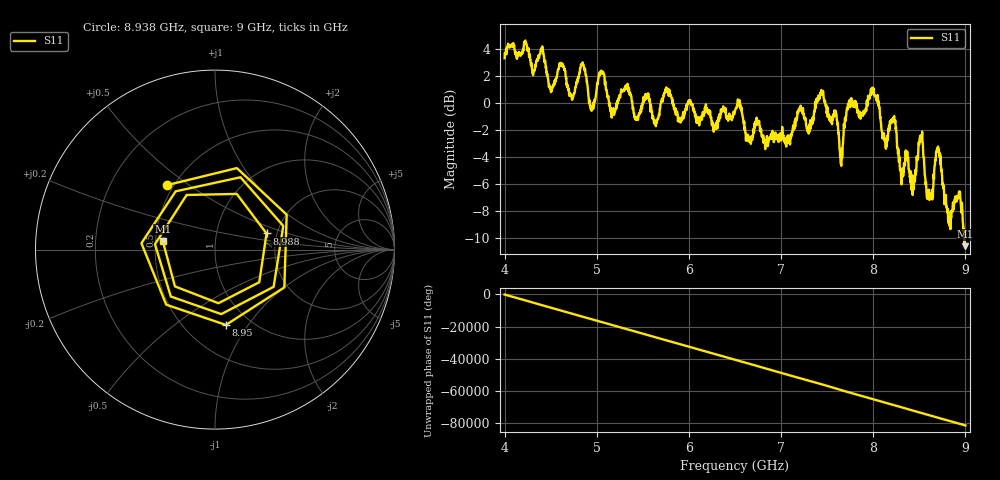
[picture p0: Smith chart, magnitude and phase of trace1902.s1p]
! Created with skrf 1.8.0 (http://scikit-rf.org).
# Hz S RI R 50.0
!freq ReS11 ImS11
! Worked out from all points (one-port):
!   1601 points, 4 GHz to 9 GHz, reference 50 ohm
!   lowest |S11| = -10.6 dB at 9 GHz (marker M1), VSWR 1.84, Z = 27.3 + j2.92 ohm
!   |S11| at or under -10 dB: 8.986046 GHz to end of sweep
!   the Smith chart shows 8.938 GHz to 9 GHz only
!   S11 on the Smith chart (normalised r, x): 8.938 GHz: 0.46, +0.42; 8.95 GHz: 0.77, -0.79; 8.988 GHz: 1.76, +0.35; 9 GHz: 0.55, +0.06
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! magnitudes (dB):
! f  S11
! 4 GHz  3.3
! 4.625 GHz  2.8
! 4.725 GHz  0.5
! 4.844 GHz  2.9
! 4.941 GHz  -0.5
! 5.05 GHz  2.4
! 5.162 GHz  -1.1
! 5.25 GHz  0.5
! 5.875 GHz  -0.8
! 6.5 GHz  -0.6
! 7.125 GHz  -2.0
! 7.438 GHz  1.0
! 7.653 GHz  -4.7
! 7.75 GHz  -0.3
! 7.997 GHz  1.0
! 8.122 GHz  -2.7
! 8.216 GHz  -1.1
! 8.303 GHz  -5.6
! 8.375 GHz  -4.3
! 8.438 GHz  -6.4
! 8.516 GHz  -2.4
! 8.622 GHz  -6.9
! 8.706 GHz  -3.4
! 8.822 GHz  -8.5
! 8.938 GHz  -7.0
! 8.95 GHz  -7.5
! 8.988 GHz  -10.4
! 9 GHz  -10.6
